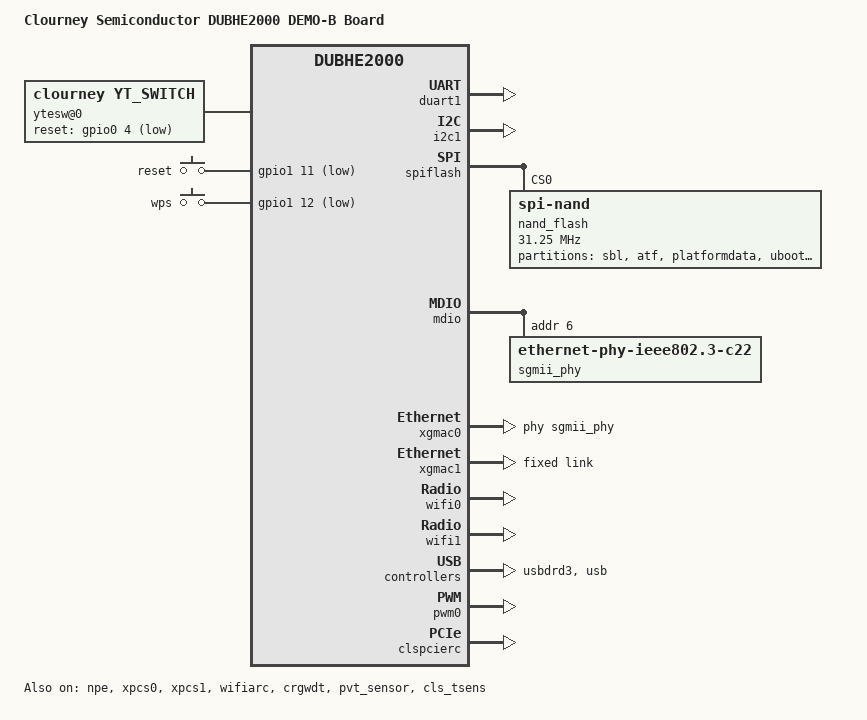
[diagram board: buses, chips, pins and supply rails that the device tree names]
// SPDX-License-Identifier: (GPL-2.0+ OR MIT)
/*
 * Device Tree Include file for Clourney dubhe2000 family SoC.
 *
 * Copyright (C) 2022-2024 Clourney Semiconductor - All Rights Reserved.
 *
 */

/dts-v1/;
#include "clourney-dubhe2000.dtsi"

/ {
	model = "Clourney Semiconductor DUBHE2000 DEMO-B Board";
	compatible = "clsemi,dubhe2000-demo-b", "clsemi,dubhe2000";

	aliases {
		serial0 = &duart1;
		spinand = &spiflash;
		pwm0 = &pwm0;
		pwm1 = &pwm1;
		pwm2 = &pwm2;
		pwm3 = &pwm3;
		pwm4 = &pwm4;
		pwm5 = &pwm5;
		led-boot = &led_power;
		led-failsafe = &led_power;
		led-running = &led_power;
		led-upgrade = &led_power;
	};

	chosen {
		stdout-path = "serial0:115200n8";
	};
	 ytesw@0 {
		compatible = "clourney,yt_switch";
		mdio-bus = <&mdio>;
		port-isolation="ooooooo";
		/* rgmii. txc delay = txc_2ns_en * 2ns + txc_delay * 0.15ns;rxc delay = rxc_delay * 0.15ns */
		rgmii-rxc_delay = <1>;
		rgmii-txc_delay = <2>;
		rgmii-txc_2ns_en = <1>;
		reset-gpio = <&gpio0 4 GPIO_ACTIVE_LOW>;
	};
};

&duart1 {
	status = "ok";
};

&i2c1 {
        label = "I2C1";
        status = "okay";
};

&spiflash {
	rx-sample-delay-ns = <8>;
	status = "ok";

	nand_flash: flash@0 {
		compatible = "spi-nand";
		/* Avoid interference with 5G and 2.4G, not setting clk to  41.67MHz  */
		spi-max-frequency = <31250000>;
		reg = <0>;
		#address-cells = <1>;
		#size-cells = <1>;

		/*0.5MB*/
		partition@0 {
			label = "sbl";
			reg = <0x0 0x80000>;
		};

		/*0.5MB*/
		partition@1 {
			label = "atf";
			reg = <0x80000 0x80000>;
		};

		/*1MB*/
		partition@2 {
			label = "platformdata";
			reg = <0x100000 0x100000>;
		};

		/*2MB*/
		partition@3 {
			label = "uboot";
			reg = <0x200000 0x200000>;
		};

		/*1MB*/
		partition@4 {
			label = "caldata";
			reg = <0x400000 0x100000>;
		};

		/*1MB*/
		partition@5 {
			label = "caldata2";
			reg = <0x500000 0x100000>;
		};

		/*1.5MB*/
                partition@6 {
                        label = "ubootenv";
                        reg = <0x600000 0x180000>;
                };

		/*1.5MB*/
                partition@7 {
                        label = "boarddata";
                        reg = <0x780000 0x180000>;
                };

		/*32MB*/
                partition@8 {
                        label = "fw1";
                        reg = <0x900000 0x2000000>;
                };

		/*32MB*/
                partition@9 {
                        label = "fw2";
                        reg = <0x2900000 0x2000000>;
                };

		/*55MB*/
                partition@10 {
                        label = "reserved";
                        reg = <0x4900000 0x3700000>;
                };
	};
};

&npe  {
	status = "ok";
	switch-pause = <4>;
	mdio: mdio {
		compatible = "clourney,mdio";
		#address-cells = <1>;
		#size-cells = <0>;
		device_type = "mdio";
		id = <0>;
		clk_csr = <1>;
		status = "okay";
		regs,phys_reset_init = <0x90410054 0xFFFF 0x6008>;
		sgmii_phy: ethernet-phy@6 {
                        compatible = "ethernet-phy-ieee802.3-c22";
                        reg = <0x6>;
                };
	};
};
&xpcs0 {
	phy-mode = "sgmii";
	status = "okay";
};

&xpcs1 {
	phy-mode = "2500base-x";
	status = "okay";
};

&xgmac0 {
	mode = "non-rgmii";
	max-speed = <2500>;
	clk-csr = <1>;
	status = "okay";
	phy-handle = <&sgmii_phy>;
};

&xgmac1 {
	mode = "non-rgmii";
	mac-address = [a0 c0 ab 39 cc f3];
	max-speed = <2500>;
	status = "okay";
	fixed-link {
		speed = <2500>;
		full-duplex;
		pause;
	};
};

&xgmac2 {
        status = "disabled";
};

&xgmac3 {
        status = "disabled";
};

&xgmac4 {
        status = "disabled";
};

&wifi0 { status = "ok"; };

&wifi1 { status = "ok"; };

&wifiarm { status = "disabled"; };

&wifiarc { status = "ok"; };

&crgwdt {
        timeout-sec = <WDT_TIMEOUT_S>;
        status = "ok";
};

&gpio0 { status = "ok"; };

&gpio1 { status = "ok"; };

&gpio_keys {
        reset {
                label = "reset";
                gpios = <&gpio1 11 GPIO_ACTIVE_LOW>; /* gpio1->32, 32 + 11 = 43(actual gpio number) */
                linux,code = <KEY_RESTART>;
        };
        wps {
                label = "wps";
                gpios = <&gpio1 12 GPIO_ACTIVE_LOW>; /* gpio1->32, 32 + 12 = 44(actual gpio number) */
                linux,code = <KEY_WPS_BUTTON>;
        };

};

&gpio_leds {
        status = "ok";

	led_power: power {
                label = "green:power";
                gpios = <&gpio0 7 GPIO_ACTIVE_LOW>;
                default-status = "on";
        };
	led_wifi_red: wifi_red {
                label = "red:wifi";
                gpios = <&gpio0 6 GPIO_ACTIVE_LOW>;
                default-status = "on";
        };
	led_wifi_green: wifi_green {
                label = "green:wifi";
                gpios = <&gpio0 13 GPIO_ACTIVE_HIGH>;
                default-status = "on";
        };
	led_mesh_red: mesh_red {
                label = "red:mesh";
               	gpios = <&gpio0 14 GPIO_ACTIVE_HIGH>;
                default-status = "on";
        };
	led_mesh_green: mesh_green {
                label = "green:mesh";
                gpios = <&gpio0 15 GPIO_ACTIVE_HIGH>;
                default-status = "on";
        };
	led_internet: internet {
                label = "green:internet";
                gpios = <&gpio0 20 GPIO_ACTIVE_HIGH>;
                default-status = "on";
        };
	led_wan: wan {
                label = "green:wan";
                gpios = <&gpio0 2 GPIO_ACTIVE_LOW>;
                default-status = "on";
        };
	led_lan1: lan1 {
              label = "green:lan1";
               gpios = <&gpio0 8 GPIO_ACTIVE_LOW>;
                default-status = "on";
        };
	led_lan2: lan2 {
                label = "green:lan2";
                gpios = <&gpio0 9 GPIO_ACTIVE_LOW>;
                default-status = "on";
        };
	led_lan3: lan3 {
                label = "green:lan3";
                gpios = <&gpio0 12 GPIO_ACTIVE_HIGH>;
                default-status = "on";
        };
};

&usbdrd3 { status = "ok";};

&usb {status = "ok"; };

&pwm0 { status = "ok"; };

&pvt_sensor {
	status = "ok";
        // T2
        temp_rise_alarm2_L = "102000";
        temp_rise_alarm2_H = "110000";
        temp_fall_alarm2_H = "110000";
        temp_fall_alarm2_L = "102000";
        // T0
        temp_rise_alarm0_L = "110000";
        temp_rise_alarm0_H = "118000";
        temp_fall_alarm0_H = "118000";
        temp_fall_alarm0_L = "110000";
        // T1
        temp_rise_alarm1_L = "118000";
        temp_rise_alarm1_H = "126000";
        temp_fall_alarm1_H = "126000";
        temp_fall_alarm1_L = "118000";
};

&cls_tsens {
        status = "ok";
        // T2
        temp_rise_alarm2_L = "102000";
        temp_rise_alarm2_H = "110000";
        temp_fall_alarm2_H = "110000";
        temp_fall_alarm2_L = "102000";
        // T0
        temp_rise_alarm0_L = "110000";
        temp_rise_alarm0_H = "118000";
        temp_fall_alarm0_H = "118000";
        temp_fall_alarm0_L = "110000";
        // T1
        temp_rise_alarm1_L = "118000";
        temp_rise_alarm1_H = "126000";
        temp_fall_alarm1_H = "126000";
        temp_fall_alarm1_L = "118000";
};

&clspcierc {
	perst-gpio = <&gpio0 10 1>;
	status = "ok";
};
